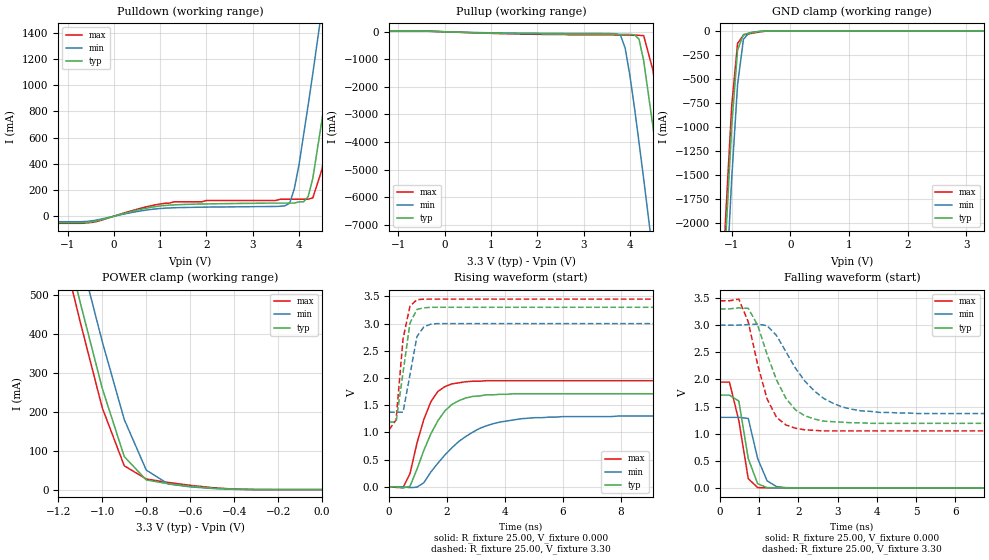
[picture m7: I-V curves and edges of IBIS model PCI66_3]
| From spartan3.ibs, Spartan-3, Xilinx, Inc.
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[Model]   PCI66_3
Model_type   I/O
Polarity   Non-Inverting
Enable   Active-Low
Vinl =   0.99V
Vinh =   1.65V
Vmeas =   2.03V
|Vmeas =   0.94V
Cref =  0.000F
Rref =  25.00
Vref =   3.30V
|Vref =   0.00V
C_comp   6.38pF   4.60pF   8.23pF
[Temperature Range]   25.00   85.00   0.000
[Voltage Range]   3.30V   3.00V   3.45V
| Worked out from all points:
|   slope of the pulldown table from 0 to 0.495 V, typ, clamps not added: 10.9 ohm
|   slope of the pullup table from 0 to 0.495 V, typ, clamps not added: 18.3 ohm
|   GND clamp passes 1 mA (typ) near -0.38 V on its own axis
|   POWER clamp passes 1 mA (typ) near -0.41 V on its own axis
|   rising waveform, R_fixture 25.00, V_fixture 0.000: 20-80 % time 916ps typ, 1.59ns min, 656ps max; typ from 0 V to 1.71 V
|   rising waveform, R_fixture 25.00, V_fixture 3.30: 20-80 % time 334ps typ, 337ps min, 292ps max; typ from 1.19 V to 3.3 V
|   falling waveform, R_fixture 25.00, V_fixture 0.000: 20-80 % time 290ps typ, 326ps min, 299ps max; typ from 1.71 V to 0 V
|   falling waveform, R_fixture 25.00, V_fixture 3.30: 20-80 % time 709ps typ, 1.01ns min, 530ps max; typ from 3.3 V to 1.19 V
[Pulldown]
| voltage   I(typ)   I(min)   I(max)
-3.3V     -51.09mA   -42.02mA   -54.09mA
-700mV    -51.09mA   -42.02mA   -54.09mA
1.3V      86.66mA    64.5mA     110mA
3.7V      100mA      79.77mA    130mA
3.9V      100mA      210mA      130mA
4.1V      110mA      620mA      130mA
4.3V      290mA      1.09A      140mA
4.5V      740mA      1.59A      360mA
4.7V      1.22A      2.1A       820mA
4.9V      1.73A      2.62A      1.31A
5.1V      2.24A      3.14A      1.81A
6.6V      6.17A      7.07A      5.73A
[Pullup]
| voltage   I(typ)   I(min)   I(max)
-3.3V     32.91mA    26.52mA    35.53mA
3.8V      -93.38mA   -130mA     -120mA
3.9V      -94.62mA   -590mA     -120mA
4V        -98.48mA   -1.56A     -120mA
4.1V      -110mA     -2.74A     -120mA
4.2V      -270mA     -4.02A     -130mA
4.3V      -1.05A     -5.34A     -140mA
4.5V      -3.43A     -8.05A     -1.39A
4.7V      -6.1A      -10.81A    -3.87A
4.9V      -8.86A     -13.6A     -6.56A
5.1V      -11.65A    -16.42A    -9.33A
6.6V      -32.99A    -37.76A    -30.66A
[GND_clamp]
| voltage   I(typ)   I(min)   I(max)
-3.3V     -32.99A    -33.47A    -32.8A
-1.2V     -3.41A     -4.01A     -3.17A
-1.1V     -2.14A     -2.73A     -1.9A
-1V       -990mA     -1.54A     -780mA
-900mV    -200mA     -560mA     -130mA
-800mV    -38.78mA   -87.51mA   -44.95mA
-700mV    -22.95mA   -20.62mA   -30.91mA
-400mV    -1.26mA    -980uA     -2.82mA
3.3V      34.79nA    95.33uA    49nA
[POWER_clamp]
| voltage   I(typ)   I(min)   I(max)
-3.3V     6.17A      6.28A      6.12A
-1.2V     710mA      840mA      660mA
-1.1V     480mA      600mA      430mA
-1V       260mA      380mA      210mA
-900mV    84.79mA    180mA      61.18mA
-800mV    24.88mA    50.15mA    27.26mA
-700mV    15.03mA    14.51mA    18.43mA
-600mV    8.66mA     7.1mA      11.09mA
-400mV    790uA      730uA      1.23mA
0V        34.79nA    120nA      59.54nA
[Ramp]
| variable   typ   min   max
dV/dt_r   1.03/0.92n   0.78/1.58n   1.17/0.66n
dV/dt_f   1.27/0.69n   0.98/1.00n   1.44/0.51n
R_load = 25.00
[Rising Waveform]
R_fixture = 25.00
V_fixture = 0.000
| time   V(typ)   V(min)   V(max)
0s        0V         870nV      0V
480ps     -20.69mV   -1.38mV    -16.01mV
720ps     8.06mV     -17.36mV   240mV
960ps     320mV      -7.97mV    800mV
1.44ns    970mV      270mV      1.56V
1.68ns    1.21V      430mV      1.75V
2.16ns    1.51V      710mV      1.89V
3.12ns    1.67V      1.07V      1.94V
4.56ns    1.71V      1.25V      1.95V
12ns      1.71V      1.3V       1.95V
[Rising Waveform]
R_fixture = 25.00
V_fixture = 3.30
V_fixture_min = 3.00
V_fixture_max = 3.45
| time   V(typ)   V(min)   V(max)
0s        1.19V      1.37V      1.05V
240ps     1.19V      1.37V      1.23V
480ps     2.1V       1.37V      2.72V
720ps     3.01V      2.06V      3.32V
960ps     3.26V      2.76V      3.44V
1.2ns     3.29V      2.94V      3.45V
1.44ns    3.3V       2.99V      3.45V
1.68ns    3.3V       3V         3.45V
12ns      3.3V       3V         3.45V
[Falling Waveform]
R_fixture = 25.00
V_fixture = 0.000
| time   V(typ)   V(min)   V(max)
0s        1.71V      1.3V       1.95V
240ps     1.71V      1.3V       1.95V
480ps     1.6V       1.3V       1.24V
720ps     540mV      1.28V      170mV
960ps     75.72mV    540mV      4.52mV
1.2ns     4.47mV     130mV      1.58mV
1.44ns    1.71mV     23.16mV    890uV
1.68ns    1.06mV     3.85mV     470uV
12ns      1.41uV     720nV      2.42uV
[Falling Waveform]
R_fixture = 25.00
V_fixture = 3.30
V_fixture_min = 3.00
V_fixture_max = 3.45
| time   V(typ)   V(min)   V(max)
0s        3.3V       3V         3.45V
480ps     3.32V      3V         3.48V
720ps     3.31V      3.01V      3.06V
960ps     3V         3.02V      2.27V
1.2ns     2.46V      2.99V      1.64V
1.44ns    1.99V      2.81V      1.3V
1.92ns    1.44V      2.21V      1.1V
2.64ns    1.23V      1.65V      1.05V
3.6ns     1.2V       1.42V      1.05V
12ns      1.19V      1.37V      1.05V
